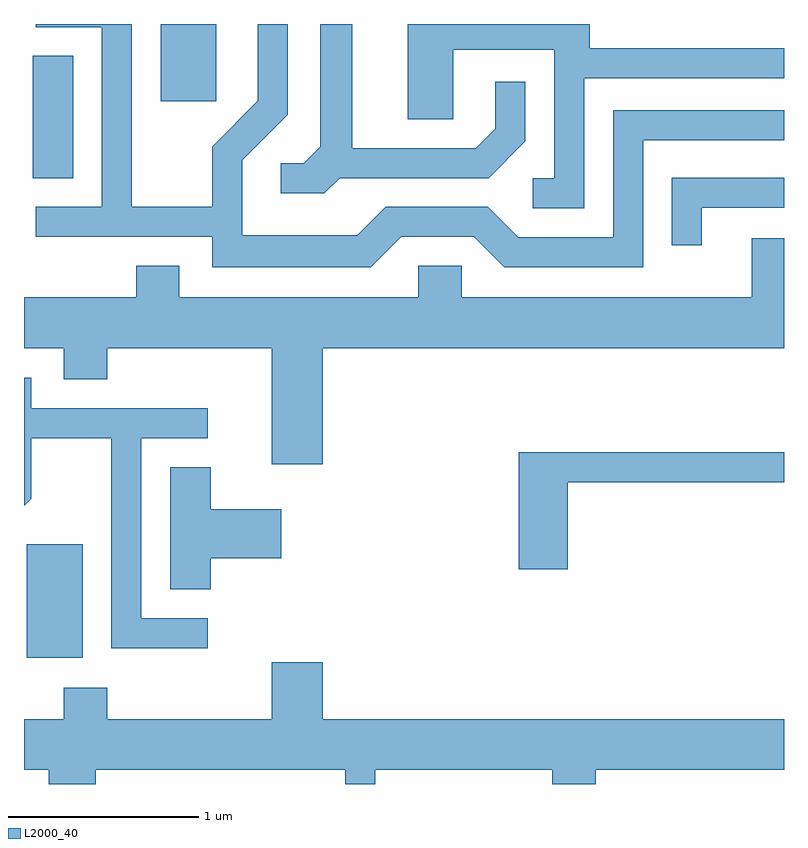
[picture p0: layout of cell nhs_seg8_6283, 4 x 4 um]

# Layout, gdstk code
import gdstk
lib = gdstk.Library(unit=1e-6, precision=1e-09)
def R(c, l, rs):  # rectangles x0, y0, x1, y1
    for r in rs: c.add(gdstk.rectangle(r[:2], r[2:], *l))
def P(c, l, *ps):  # polygons
    for p in ps: c.add(gdstk.Polygon(p, *l))
L2000_40 = (2000, 40)

nhs_seg8_6283 = lib.new_cell('nhs_seg8_6283')
R(nhs_seg8_6283, L2000_40, [(373.626,1837.006,373.919,1837.604), (373.656,1839.531,373.869,1840.174), (374.331,1839.936,374.624,1840.342)])
P(nhs_seg8_6283, L2000_40, [(376.559,1840.056),(377.611,1840.056),(377.611,1840.214),(376.589,1840.214),(376.589,1840.342),(375.631,1840.342),(375.631,1839.841),(375.869,1839.841),(375.869,1840.206),(376.401,1840.206),(376.401,1839.529),(376.288,1839.529),(376.288,1839.371),(376.559,1839.371)],
  [(375.272,1839.531),(376.057,1839.531),(376.249,1839.724),(376.249,1840.038),(376.091,1840.038),(376.091,1839.792),(375.989,1839.689),(375.339,1839.689),(375.339,1840.342),(375.171,1840.342),(375.171,1839.697),(375.084,1839.609),(374.963,1839.609),(374.963,1839.451),(375.192,1839.451)],
  [(375.597,1839.221),(375.979,1839.221),(376.139,1839.061),(376.869,1839.061),(376.869,1839.731),(377.611,1839.731),(377.611,1839.889),(376.711,1839.889),(376.711,1839.219),(376.212,1839.219),(376.052,1839.379),(375.514,1839.379),(375.364,1839.229),(374.759,1839.229),(374.759,1839.624),(374.999,1839.864),(374.999,1840.342),(374.841,1840.342),(374.841,1839.937),(374.601,1839.697),(374.601,1839.379),(374.179,1839.379),(374.179,1840.342),(373.673,1840.342),(373.673,1840.326),(374.021,1840.326),(374.021,1839.379),(373.673,1839.379),(373.673,1839.221),(374.601,1839.221),(374.601,1839.061),(375.437,1839.061)],
  [(377.179,1839.376),(377.611,1839.376),(377.611,1839.534),(377.021,1839.534),(377.021,1839.178),(377.179,1839.178)],
  [(375.184,1838.636),(377.611,1838.636),(377.611,1839.214),(377.441,1839.214),(377.441,1838.904),(375.914,1838.904),(375.914,1839.069),(375.686,1839.069),(375.686,1838.904),(374.429,1838.904),(374.429,1839.069),(374.201,1839.069),(374.201,1838.904),(373.611,1838.904),(373.611,1838.636),(373.821,1838.636),(373.821,1838.471),(374.049,1838.471),(374.049,1838.636),(374.916,1838.636),(374.916,1838.026),(375.184,1838.026)],
  [(374.578,1837.214),(374.229,1837.214),(374.229,1838.161),(374.578,1838.161),(374.578,1838.319),(373.649,1838.319),(373.649,1838.479),(373.611,1838.479),(373.611,1837.806),(373.649,1837.844),(373.649,1838.161),(374.071,1838.161),(374.071,1837.056),(374.578,1837.056)],
  [(376.474,1837.931),(377.611,1837.931),(377.611,1838.089),(376.216,1838.089),(376.216,1837.471),(376.474,1837.471)],
  [(374.594,1837.531),(374.964,1837.531),(374.964,1837.789),(374.594,1837.789),(374.594,1838.009),(374.381,1838.009),(374.381,1837.366),(374.594,1837.366)],
  [(373.989,1836.416),(375.301,1836.416),(375.301,1836.342),(375.459,1836.342),(375.459,1836.416),(376.391,1836.416),(376.391,1836.342),(376.619,1836.342),(376.619,1836.416),(377.611,1836.416),(377.611,1836.684),(375.184,1836.684),(375.184,1836.984),(374.916,1836.984),(374.916,1836.684),(374.049,1836.684),(374.049,1836.849),(373.821,1836.849),(373.821,1836.684),(373.611,1836.684),(373.611,1836.416),(373.741,1836.416),(373.741,1836.342),(373.989,1836.342)])

lib.write_gds('nhs_seg8_6283.gds')
